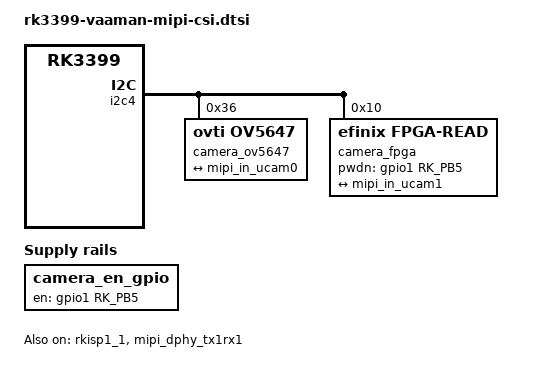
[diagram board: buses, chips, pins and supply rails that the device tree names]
// SPDX-License-Identifier: (GPL-2.0+ OR MIT)
/*
 * Copyright (c) 2022-23 Vicharak Computers LLP
 *
 */

/ {
	compatible = "vicharak,rk3399-vaaman", "rockchip,rk3399";

	// Camera Clock 25Mhz: {{{
	clk_cam_25m: external-camera-clock-25m {
		status = "disabled";
		compatible = "fixed-clock";
		clock-frequency = <25000000>;
		clock-output-names = "clk_cam_25m";
		#clock-cells = <0>;
	};
	// }}}

	// Camera Enable GPIO: {{{
	camera_en_gpio: camera-en-gpio {
		status = "okay";
		compatible = "regulator-fixed";
		regulator-name = "camera_en_gpio";
		regulator-always-on;
		regulator-boot-on;
		enable-active-high;
		gpio = <&gpio1 RK_PB5 GPIO_ACTIVE_HIGH>;
		pinctrl-names = "default";
		pinctrl-0 = <&cam_en_gpio>;
	};
	// }}}
};

// ISP 0: {{{
&rkisp1_0 {
	status = "disabled";

	port {
		#address-cells = <1>;
		#size-cells = <0>;

		isp0_mipi_in: endpoint@0 {
			reg = <0>;
			remote-endpoint = <&dphy_rx0_out>;
		};
	};
};

&isp0_mmu {
	status = "disabled";
};
// }}}

// MIPI DPHY RX0: {{{
&mipi_dphy_rx0 {
	status = "disabled";

	ports {
		#address-cells = <1>;
		#size-cells = <0>;

		port@0 {
			reg = <0>;
			#address-cells = <1>;
			#size-cells = <0>;

			mipi_in_ucam0: endpoint@1 {
				reg = <1>;
				remote-endpoint = <&ucam_out0>;
				data-lanes = <1 2>;
			};
		};

		port@1 {
			reg = <1>;
			#address-cells = <1>;
			#size-cells = <0>;

			dphy_rx0_out: endpoint@0 {
				reg = <0>;
				remote-endpoint = <&isp0_mipi_in>;
			};
		};
	};
};
// }}}

// ISP 1: {{{
&rkisp1_1 {
	status = "okay";

	port {
		#address-cells = <1>;
		#size-cells = <0>;

		isp1_mipi_in: endpoint@0 {
			reg = <0>;
			remote-endpoint = <&dphy_tx1rx1_out>;
		};
	};
};

&isp1_mmu {
	status = "okay";
};
// }}}

// MIPI DPHY TX1 RX1: {{{
&mipi_dphy_tx1rx1 {
	status = "okay";

	ports {
		#address-cells = <1>;
		#size-cells = <0>;

		port@0 {
			reg = <0>;
			#address-cells = <1>;
			#size-cells = <0>;

			mipi_in_ucam1: endpoint@1 {
				reg = <1>;
				remote-endpoint = <&ucam_out1>;
				data-lanes = <1 2 3 4>;
			};
		};

		port@1 {
			reg = <1>;
			#address-cells = <1>;
			#size-cells = <0>;

			dphy_tx1rx1_out: endpoint@0 {
				reg = <0>;
				remote-endpoint = <&isp1_mipi_in>;
			};
		};
	};
};
// }}}

&i2c4 {
	status = "okay";
	#address-cells = <1>;
	#size-cells = <0>;

	// Camera 0: {{{
	camera_ov5647: camera-ov5647@36 {
		status = "okay";
		compatible = "ovti,ov5647";
		reg = <0x36>;

		clocks = <&clk_cam_25m>;
		clock-names = "xclk";

		rockchip,camera-module-index = <0>;
		rockchip,camera-module-facing = "back";
		rockchip,camera-module-name = "rpi-camera-v1p3";
		rockchip,camera-module-lens-name = "default";

		port {
			ucam_out0: endpoint {
				remote-endpoint = <&mipi_in_ucam0>;
				data-lanes = <1 2>;
			};
		};
	};
	// }}} End of Camera 0

	// Camera 1: {{{
	camera_fpga: camera-fpga@10 {
		status = "okay";
		compatible = "efinix,fpga-read";
		reg = <0x10>;

		clocks = <&cru SCLK_CIF_OUT>;
		clock-names = "clk_cif_out";
		pinctrl-names = "rockchip,camera_default";
		pwdn-gpios = <&gpio1 RK_PB5 GPIO_ACTIVE_HIGH>;

		rockchip,camera-module-index = <0>;
		rockchip,camera-module-facing = "back";
		rockchip,camera-module-name = "default";
		rockchip,camera-module-lens-name = "default";

		port {
			ucam_out1: endpoint {
				remote-endpoint = <&mipi_in_ucam1>;
				data-lanes = <1 2 3 4>;
			};
		};
	};
	// }}} End of Camera 1
};

&pinctrl {
	// I2C4: {{{
	i2c4 {
		i2c4_xfer: i2c4-xfer {
			rockchip,pins =
				<1 RK_PB3 1 &pcfg_pull_up>,
				<1 RK_PB4 1 &pcfg_pull_up>;
		};
	};
	// }}}

	// Camera Enable: {{{
	camera {
		cam_en_gpio: cam-en-gpio {
			rockchip,pins =
				<1 RK_PB5 RK_FUNC_GPIO &pcfg_output_high>;
		};
	};
	// }}}
};
